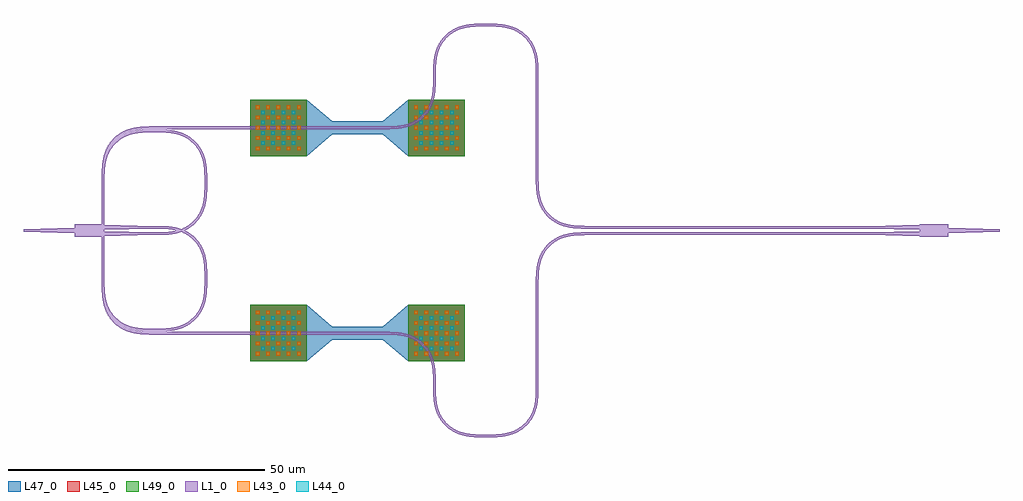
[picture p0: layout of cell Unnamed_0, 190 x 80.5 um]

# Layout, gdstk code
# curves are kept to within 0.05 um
from math import pi, radians
import gdstk
lib = gdstk.Library(unit=1e-6, precision=1e-09)
def R(c, l, rs):  # rectangles x0, y0, x1, y1
    for r in rs: c.add(gdstk.rectangle(r[:2], r[2:], *l))
def A(c, l, x, y, w, h, nx, ny, dx, dy):  # array of equal rectangles
    R(c, l, [(x+i*dx, y+j*dy, x+i*dx+w, y+j*dy+h) for i in range(nx) for j in range(ny)])
def P(c, l, *ps):  # polygons
    for p in ps: c.add(gdstk.Polygon(p, *l))
L1_0 = (1, 0)
L43_0 = (43, 0)
L44_0 = (44, 0)
L45_0 = (45, 0)
L47_0 = (47, 0)
L49_0 = (49, 0)

mmi1x2_gdsfactorypcompo_ = lib.new_cell('mmi1x2_gdsfactorypcompo_1f097353')
P(mmi1x2_gdsfactorypcompo_, L1_0, [(0,-1.25),(0,-0.5),(-10,-0.25),(-10,0.25),(0,0.5),(0,1.25),(5.5,1.25),(5.5,1.125),(15.5,0.875),(15.5,0.375),(5.5,0.125),(5.5,-0.125),(15.5,-0.375),(15.5,-0.875),(5.5,-1.125),(5.5,-1.25)])

straight_heater_metal_u_ = lib.new_cell('straight_heater_metal_u_2cb2e2d5')
R(straight_heater_metal_u_, L1_0, [(0,-0.25,10,0.25)])
A(straight_heater_metal_u_, L43_0, -14.75, -4.35, 0.7, 0.7, 5, 5, 2, 2)
A(straight_heater_metal_u_, L43_0, 16.05, -4.35, 0.7, 0.7, 5, 5, 2, 2)
A(straight_heater_metal_u_, L44_0, -13.75, -3.35, 0.7, 0.7, 4, 4, 2, 2)
A(straight_heater_metal_u_, L44_0, 17.05, -3.35, 0.7, 0.7, 4, 4, 2, 2)
R(straight_heater_metal_u_, L45_0, [(-15.9,-5.5,-4.9,5.5), (14.9,-5.5,25.9,5.5)])
P(straight_heater_metal_u_, L47_0, [(-15.9,-5.5),(-15.9,5.5),(-4.9,5.5),(0.1,1.25),(9.9,1.25),(14.9,5.5),(25.9,5.5),(25.9,-5.5),(14.9,-5.5),(9.9,-1.25),(0.1,-1.25),(-4.9,-5.5)])
R(straight_heater_metal_u_, L49_0, [(-15.9,-5.5,-4.9,5.5), (14.9,-5.5,25.9,5.5)])

bend_euler_gdsfactorypc_ = lib.new_cell('bend_euler_gdsfactorypc_a86bc407')
P(bend_euler_gdsfactorypc_, L1_0, [(0,-0.25),(0,0.25),(2.881,0.353),(3.952,0.52),(4.99,0.806),(6.431,1.505),(7.575,2.425),(8.495,3.569),(9.194,5.01),(9.48,6.048),(9.647,7.119),(9.75,10),(10.25,10),(10.158,7.205),(9.797,5.254),(9.457,4.312),(9.066,3.545),(8.5,2.715),(7.928,2.072),(7.285,1.5),(6.455,0.934),(5.688,0.543),(4.746,0.203),(2.795,-0.158)])

straight_gdsfactorypcom_ = lib.new_cell('straight_gdsfactorypcom_8f351695')
R(straight_gdsfactorypcom_, L1_0, [(0,-0.25,19.375,0.25)])

c_straight_gdsfactorypcom_ = lib.new_cell('straight_gdsfactorypcom_65582a3e')
R(c_straight_gdsfactorypcom_, L1_0, [(0,-0.25,34.5,0.25)])

c_straight_gdsfactorypcom__ = lib.new_cell('straight_gdsfactorypcom_40a0d86d')
R(c_straight_gdsfactorypcom__, L1_0, [(0,-0.25,54.5,0.25)])

unnamed_0 = lib.new_cell('Unnamed_0')
unnamed_0.add(gdstk.Reference(mmi1x2_gdsfactorypcompo_, (0,0)))
unnamed_0.add(gdstk.Reference(mmi1x2_gdsfactorypcompo_, (170,0), rotation=pi, x_reflection=True))
unnamed_0.add(gdstk.Reference(straight_heater_metal_u_, (50,20)))
unnamed_0.add(gdstk.Reference(straight_heater_metal_u_, (50,-20)))
unnamed_0.add(gdstk.Reference(bend_euler_gdsfactorypc_, (25.5,-9.375), rotation=pi/2))
unnamed_0.add(gdstk.Reference(bend_euler_gdsfactorypc_, (15.5,-19.375)))
unnamed_0.add(gdstk.Reference(bend_euler_gdsfactorypc_, (5.5,-9.375), rotation=3*pi/2))
unnamed_0.add(gdstk.Reference(bend_euler_gdsfactorypc_, (15.5,20), rotation=pi))
unnamed_0.add(gdstk.Reference(straight_gdsfactorypcom_, (5.5,-9.375), rotation=pi/2))
unnamed_0.add(gdstk.Reference(c_straight_gdsfactorypcom_, (15.5,20)))
unnamed_0.add(gdstk.Reference(bend_euler_gdsfactorypc_, (25.5,9.375), rotation=3*pi/2, x_reflection=True))
unnamed_0.add(gdstk.Reference(bend_euler_gdsfactorypc_, (15.5,19.375), x_reflection=True))
unnamed_0.add(gdstk.Reference(bend_euler_gdsfactorypc_, (5.5,9.375), rotation=pi/2, x_reflection=True))
unnamed_0.add(gdstk.Reference(bend_euler_gdsfactorypc_, (15.5,-20), rotation=pi, x_reflection=True))
unnamed_0.add(gdstk.Reference(straight_gdsfactorypcom_, (5.5,9.375), rotation=3*pi/2))
unnamed_0.add(gdstk.Reference(c_straight_gdsfactorypcom_, (15.5,-20)))
unnamed_0.add(gdstk.Reference(bend_euler_gdsfactorypc_, (70,30), rotation=3*pi/2, x_reflection=True))
unnamed_0.add(gdstk.Reference(bend_euler_gdsfactorypc_, (80,40), rotation=pi))
unnamed_0.add(gdstk.Reference(bend_euler_gdsfactorypc_, (90,30), rotation=pi/2))
unnamed_0.add(gdstk.Reference(bend_euler_gdsfactorypc_, (100,0.625), rotation=pi, x_reflection=True))
unnamed_0.add(gdstk.Reference(straight_gdsfactorypcom_, (90,30), rotation=3*pi/2))
unnamed_0.add(gdstk.Reference(c_straight_gdsfactorypcom__, (100,0.625)))
unnamed_0.add(gdstk.Reference(bend_euler_gdsfactorypc_, (70,-30), rotation=pi/2))
unnamed_0.add(gdstk.Reference(bend_euler_gdsfactorypc_, (80,-40), rotation=pi, x_reflection=True))
unnamed_0.add(gdstk.Reference(bend_euler_gdsfactorypc_, (90,-30), rotation=3*pi/2, x_reflection=True))
unnamed_0.add(gdstk.Reference(bend_euler_gdsfactorypc_, (100,-0.625), rotation=pi))
unnamed_0.add(gdstk.Reference(straight_gdsfactorypcom_, (90,-30), rotation=pi/2))
unnamed_0.add(gdstk.Reference(c_straight_gdsfactorypcom__, (100,-0.625)))

lib.write_gds('Unnamed_0.gds')
